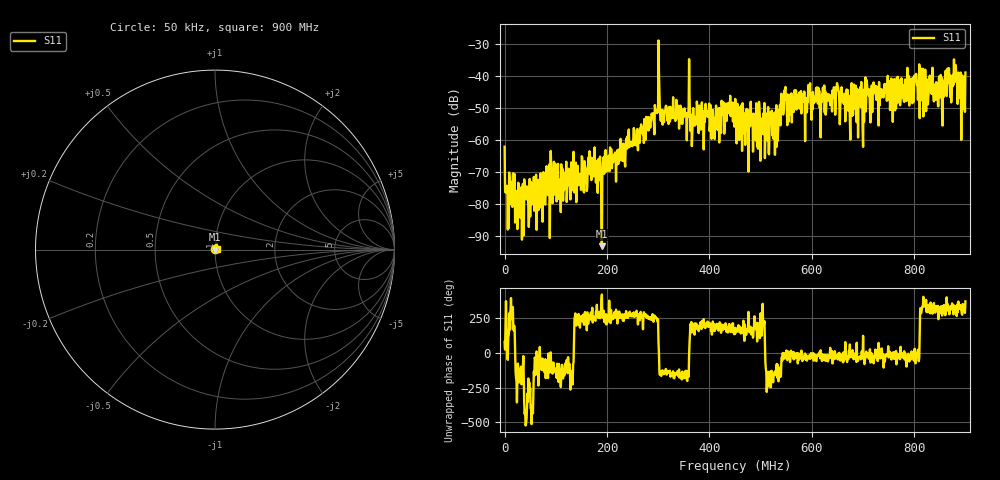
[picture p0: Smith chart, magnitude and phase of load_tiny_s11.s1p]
# Hz S RI R 50
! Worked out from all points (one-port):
!   1010 points, 50 kHz to 900 MHz, reference 50 ohm
!   lowest |S11| = -93.2 dB at 190 MHz (marker M1), VSWR 1.00, Z = 50 + j0.00194 ohm
!   |S11| at or under -10 dB: start of sweep to end of sweep
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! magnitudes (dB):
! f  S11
! 50 kHz  -62.0
! 6.293 MHz  -88.0
! 26.81 MHz  -73.4
! 75.86 MHz  -70.0
! 91.92 MHz  -72.6
! 113.3 MHz  -69.0
! 166.8 MHz  -70.7
! 190 MHz  -93.2
! 225.7 MHz  -62.8
! 288.1 MHz  -52.2
! 298 MHz  -51.5
! 307.8 MHz  -51.5
! 338.1 MHz  -49.6
! 407.7 MHz  -55.0
! 450.5 MHz  -47.1
! 512.9 MHz  -58.7
! 532.5 MHz  -50.4
! 544.1 MHz  -52.0
! 562.9 MHz  -50.3
! 647.6 MHz  -43.4
! 675.2 MHz  -59.9
! 702 MHz  -54.3
! 708.2 MHz  -43.3
! 787.6 MHz  -43.1
! 850.9 MHz  -43.4
! 879.5 MHz  -36.4
! 894.6 MHz  -46.6
! 900 MHz  -38.8
